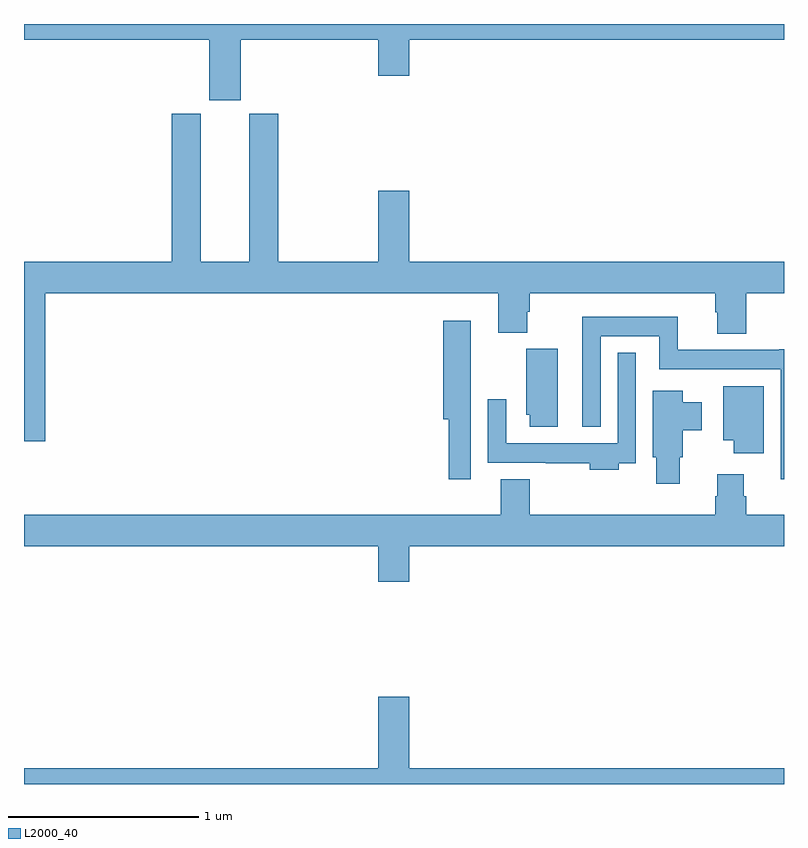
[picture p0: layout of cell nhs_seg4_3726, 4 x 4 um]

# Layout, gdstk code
import gdstk
lib = gdstk.Library(unit=1e-6, precision=1e-09)
def P(c, l, *ps):  # polygons
    for p in ps: c.add(gdstk.Polygon(p, *l))
L2000_40 = (2000, 40)

nhs_seg4_3726 = lib.new_cell('nhs_seg4_3726')
P(nhs_seg4_3726, L2000_40, [(308.14,800.816),(308.864,800.816),(308.864,800.628),(309.028,800.628),(309.028,800.816),(311,800.816),(311,800.9),(307,800.9),(307,800.816),(307.976,800.816),(307.976,800.499),(308.14,800.499)],
  [(309.028,800.023),(308.864,800.023),(308.864,799.648),(308.339,799.648),(308.339,800.427),(308.186,800.427),(308.186,799.648),(307.93,799.648),(307.93,800.427),(307.778,800.427),(307.778,799.648),(307,799.648),(307,798.705),(307.112,798.705),(307.112,799.484),(309.497,799.484),(309.497,799.276),(309.649,799.276),(309.649,799.385),(309.662,799.385),(309.662,799.484),(310.637,799.484),(310.637,799.383),(310.649,799.383),(310.649,799.271),(310.802,799.271),(310.802,799.484),(311,799.484),(311,799.648),(309.028,799.648)],
  [(311,799.189),(310.976,799.189),(310.976,799.186),(310.442,799.186),(310.442,799.36),(309.938,799.36),(309.938,798.779),(310.035,798.779),(310.035,799.256),(310.344,799.256),(310.344,799.082),(310.983,799.082),(310.983,798.504),(311,798.504)],
  [(309.351,798.925),(309.352,798.925),(309.352,799.339),(309.206,799.339),(309.206,798.821),(309.235,798.821),(309.235,798.504),(309.351,798.504)],
  [(309.808,799.191),(309.644,799.191),(309.644,798.843),(309.662,798.843),(309.662,798.78),(309.808,798.78)],
  [(310.129,798.588),(310.221,798.588),(310.221,799.171),(310.125,799.171),(310.125,798.694),(309.537,798.694),(309.537,798.925),(309.441,798.925),(309.441,798.59),(309.745,798.59),(309.745,798.588),(309.977,798.588),(309.977,798.554),(310.129,798.554)],
  [(310.894,798.994),(310.679,798.994),(310.679,798.71),(310.736,798.71),(310.736,798.642),(310.894,798.642)],
  [(310.45,798.621),(310.468,798.621),(310.468,798.763),(310.567,798.763),(310.567,798.91),(310.468,798.91),(310.468,798.97),(310.31,798.97),(310.31,798.621),(310.328,798.621),(310.328,798.48),(310.45,798.48)],
  [(311,798.316),(310.802,798.316),(310.802,798.414),(310.789,798.414),(310.789,798.529),(310.649,798.529),(310.649,798.414),(310.637,798.414),(310.637,798.316),(309.662,798.316),(309.662,798.505),(309.509,798.505),(309.509,798.316),(307,798.316),(307,798.152),(308.864,798.152),(308.864,797.964),(309.028,797.964),(309.028,798.152),(311,798.152)],
  [(311,796.984),(309.028,796.984),(309.028,797.359),(308.864,797.359),(308.864,796.984),(307,796.984),(307,796.9),(311,796.9)])

lib.write_gds('nhs_seg4_3726.gds')
